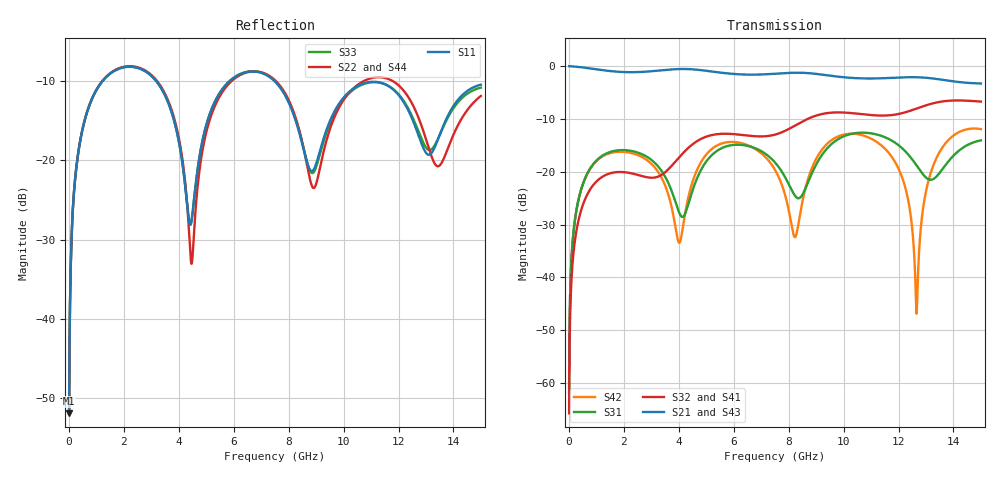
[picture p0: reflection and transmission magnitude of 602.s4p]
! Created with skrf 1.8.0 (http://scikit-rf.org).
# GHz S RI R 50.0
!freq ReS11 ImS11 ReS12 ImS12 ReS13 ImS13
! ReS14 ImS14
! ReS21 ImS21 ReS22 ImS22 ReS23 ImS23
! ReS24 ImS24
! ReS31 ImS31 ReS32 ImS32 ReS33 ImS33
! ReS34 ImS34
! ReS41 ImS41 ReS42 ImS42 ReS43 ImS43
! ReS44 ImS44
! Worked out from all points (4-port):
!   2499 points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, 5 MHz to 15 GHz, reference 50 ohm
!   strongest paths, dB at 5 MHz, 3.476 GHz, 7.19 GHz, 11.1 GHz, 15 GHz:
!     S21: 0.0, -0.8, -1.5, -2.3, -3.3
!     S43: 0.0, -0.8, -1.6, -2.4, -3.3
!     S32: -65.7, -20.2, -13.3, -9.3, -6.7
!     S41: -65.7, -20.2, -13.3, -9.4, -6.8
!     S31: -61.8, -20.7, -16.7, -12.8, -14.1
!     S42: -61.8, -22.3, -17.4, -14.0, -11.9
!   lowest |S11| = -51.9 dB at 5 MHz (marker M1), VSWR 1.01, Z = 50.2 + j0.154 ohm
!   |S11| at or under -10 dB: start of sweep to 1.214 GHz; 3.183 GHz to 5.844 GHz (2.661 GHz wide, 58.9 % of centre); 7.491 GHz to end of sweep
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0.005  0.00202 0.00153  0.9979 -0.00392  0.000103 0.000808  -9.98e-05 -0.000506
       0.9979 -0.00392  0.00202 0.00153  -9.98e-05 -0.000506  0.000103 0.000809
       0.000103 0.000808  -9.98e-05 -0.000506  0.00202 0.00153  0.9979 -0.00392
       -9.98e-05 -0.000506  0.000103 0.000809  0.9979 -0.00392  0.00202 0.00153
1.3193  0.2833 0.1724  0.5171 -0.7463  0.1379 0.0509  -0.0926 -0.000973
        0.5171 -0.7463  0.2863 0.1703  -0.0926 -0.000906  0.1291 0.0638
        0.1379 0.0509  -0.0926 -0.000906  0.2833 0.1724  0.5171 -0.7463
        -0.0926 -0.000973  0.1291 0.0638  0.5171 -0.7463  0.2864 0.1702
4.29554  0.0413 -0.0353  -0.9224 -0.1654  -0.0339 0.0292  -0.0266 0.1613
         -0.9224 -0.1654  0.0254 -0.0488  -0.0256 0.1615  0.0233 0.0439
         -0.0339 0.0292  -0.0256 0.1615  0.0416 -0.0352  -0.9224 -0.1652
         -0.0266 0.1613  0.0233 0.0439  -0.9224 -0.1652  0.0252 -0.0487
6.871613  0.3606 -0.0331  -0.00883 0.8307  0.1351 -0.091  0.2075 -0.0588
          -0.00883 0.8307  0.3627 -0.03  0.2073 -0.0609  0.1389 -0.0762
          0.1351 -0.091  0.2073 -0.0609  0.3624 -0.0342  -0.0085 0.8298
          0.2075 -0.0588  0.1389 -0.0762  -0.0085 0.8298  0.3653 -0.0293
9.19133  0.1092 0.0577  0.8306 -0.0455  0.038 0.1363  -0.0389 -0.3476
         0.8306 -0.0455  0.0844 0.0508  -0.0424 -0.3481  0.0591 0.1474
         0.038 0.1363  -0.0424 -0.3481  0.1048 0.0541  0.8308 -0.0452
         -0.0389 -0.3476  0.0591 0.1474  0.8308 -0.0452  0.0887 0.0476
12.65527  0.138 -0.0727  -0.5601 -0.5484  -0.0729 -0.0889  -0.2712 0.2874
          -0.5601 -0.5484  0.155 -0.1263  -0.2653 0.2936  -0.0042 -0.00167
          -0.0729 -0.0889  -0.2653 0.2936  0.1464 -0.0735  -0.5594 -0.5473
          -0.2712 0.2874  -0.0042 -0.00167  -0.5594 -0.5473  0.156 -0.1352
15  0.298 0.0426  -0.4684 0.4989  0.1975 -0.0131  0.3827 0.2536
    -0.4684 0.4989  0.244 0.0757  0.3901 0.2461  0.2529 0.00339
    0.1975 -0.0131  0.3901 0.2461  0.2859 0.0362  -0.4693 0.5026
    0.3827 0.2536  0.2529 0.00339  -0.4693 0.5026  0.2399 0.0663
